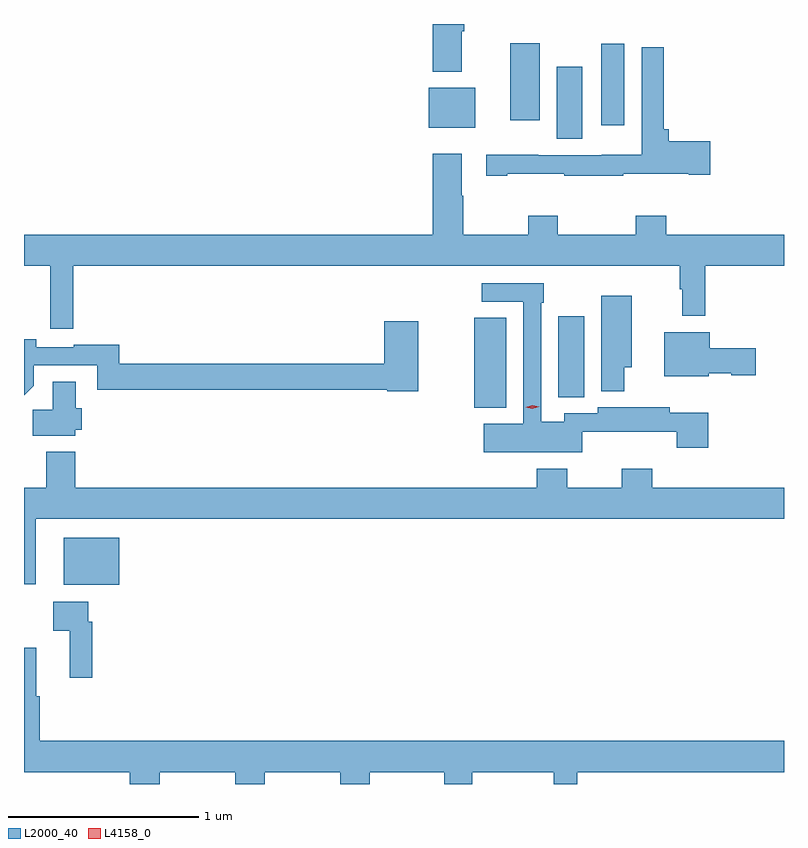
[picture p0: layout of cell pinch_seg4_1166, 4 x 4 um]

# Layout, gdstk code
import gdstk
lib = gdstk.Library(unit=1e-6, precision=1e-09)
def R(c, l, rs):  # rectangles x0, y0, x1, y1
    for r in rs: c.add(gdstk.rectangle(r[:2], r[2:], *l))
def P(c, l, *ps):  # polygons
    for p in ps: c.add(gdstk.Polygon(p, *l))
L2000_40 = (2000, 40)
L4158_0 = (4158, 0)

pinch_seg4_1166 = lib.new_cell('pinch_seg4_1166')
R(pinch_seg4_1166, L2000_40, [(396.299,789.815,396.592,790.06), (398.462,790.745,398.629,791.219), (398.903,790.801,399.04,791.227), (398.894,792.16,399.028,792.541), (398.222,792.218,398.467,792.43), (399.128,792.231,399.25,792.661), (398.651,792.258,398.806,792.664)])
P(pinch_seg4_1166, L2000_40, [(398.395,792.728),(398.408,792.728),(398.408,792.765),(398.243,792.765),(398.243,792.515),(398.395,792.515)],
  [(398.635,791.977),(398.935,791.977),(398.935,791.967),(399.245,791.967),(399.245,791.977),(399.59,791.977),(399.59,791.971),(399.703,791.971),(399.703,792.149),(399.485,792.149),(399.485,792.211),(399.458,792.211),(399.458,792.643),(399.342,792.643),(399.342,792.076),(399.132,792.076),(399.132,792.075),(398.798,792.075),(398.798,792.077),(398.523,792.077),(398.523,791.967),(398.635,791.967)],
  [(396.35,791.492),(399.541,791.492),(399.541,791.369),(399.556,791.369),(399.556,791.229),(399.677,791.229),(399.677,791.492),(400.091,791.492),(400.091,791.656),(399.47,791.656),(399.47,791.755),(399.31,791.755),(399.31,791.656),(398.901,791.656),(398.901,791.755),(398.746,791.755),(398.746,791.656),(398.403,791.656),(398.403,791.861),(398.395,791.861),(398.395,792.082),(398.243,792.082),(398.243,791.656),(396.091,791.656),(396.091,791.492),(396.229,791.492),(396.229,791.16),(396.35,791.16)],
  [(399.03,790.619),(399.527,790.619),(399.527,790.536),(399.692,790.536),(399.692,790.718),(399.49,790.718),(399.49,790.747),(399.11,790.747),(399.11,790.716),(398.934,790.716),(398.934,790.672),(398.814,790.672),(398.814,791.297),(398.827,791.297),(398.827,791.4),(398.499,791.4),(398.499,791.304),(398.718,791.304),(398.718,790.66),(398.511,790.66),(398.511,790.511),(399.03,790.511)],
  [(399.25,790.958),(399.289,790.958),(399.289,791.335),(399.128,791.335),(399.128,790.832),(399.25,790.832)],
  [(396.142,790.862),(396.142,790.968),(396.477,790.968),(396.477,790.84),(398.004,790.84),(398.004,790.832),(398.166,790.832),(398.166,791.2),(397.988,791.2),(397.988,790.976),(396.593,790.976),(396.593,791.077),(396.354,791.077),(396.354,791.064),(396.155,791.064),(396.155,791.106),(396.091,791.106),(396.091,790.811)],
  [(399.696,790.928),(399.813,790.928),(399.813,790.916),(399.943,790.916),(399.943,791.058),(399.7,791.058),(399.7,791.143),(399.461,791.143),(399.461,790.91),(399.696,790.91)],
  [(396.36,790.629),(396.395,790.629),(396.395,790.743),(396.364,790.743),(396.364,790.883),(396.242,790.883),(396.242,790.736),(396.137,790.736),(396.137,790.598),(396.36,790.598)],
  [(396.154,790.16),(400.091,790.16),(400.091,790.324),(399.398,790.324),(399.398,790.423),(399.238,790.423),(399.238,790.324),(398.949,790.324),(398.949,790.423),(398.789,790.423),(398.789,790.324),(396.362,790.324),(396.362,790.513),(396.209,790.513),(396.209,790.324),(396.091,790.324),(396.091,789.816),(396.154,789.816)],
  [(396.449,789.62),(396.429,789.62),(396.429,789.724),(396.246,789.724),(396.246,789.572),(396.332,789.572),(396.332,789.324),(396.449,789.324)],
  [(396.806,788.828),(397.204,788.828),(397.204,788.765),(397.358,788.765),(397.358,788.828),(397.756,788.828),(397.756,788.765),(397.911,788.765),(397.911,788.828),(398.302,788.828),(398.302,788.765),(398.449,788.765),(398.449,788.828),(398.879,788.828),(398.879,788.765),(399.002,788.765),(399.002,788.828),(400.091,788.828),(400.091,788.992),(396.173,788.992),(396.173,789.228),(396.155,789.228),(396.155,789.481),(396.091,789.481),(396.091,788.828),(396.647,788.828),(396.647,788.765),(396.806,788.765)])
P(pinch_seg4_1166, L4158_0, [(398.767,790.739),(398.732,790.749),(398.732,790.749),(398.732,790.749),(398.767,790.759),(398.802,790.75),(398.802,790.75),(398.802,790.75)])

lib.write_gds('pinch_seg4_1166.gds')
